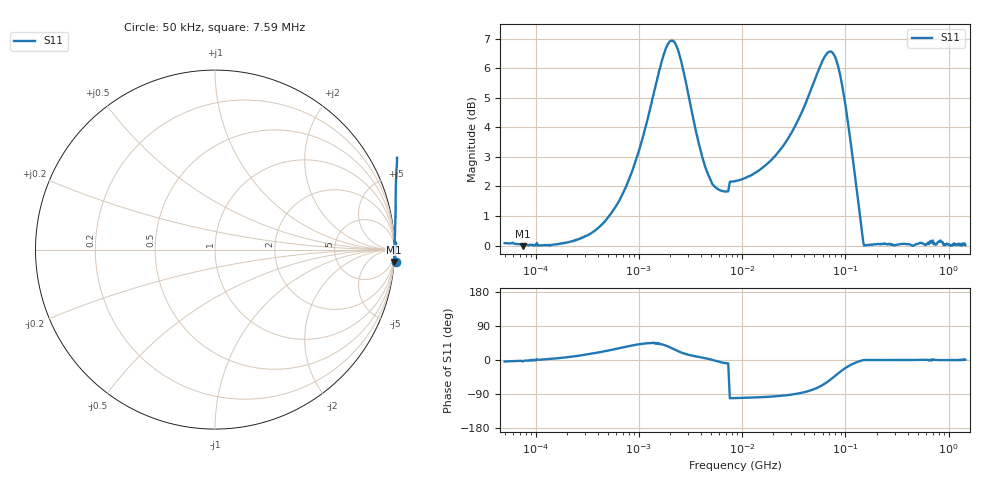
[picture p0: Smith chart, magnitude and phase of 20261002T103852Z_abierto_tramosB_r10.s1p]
! piloto_saltos / abierto_tramosB / r10
# HZ S RI R 50
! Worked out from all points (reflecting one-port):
!   501 points, 50 kHz to 1.45 GHz, reference 50 ohm
!   lowest |S11| = 0.0 dB at 75 kHz (marker M1), VSWR 825.90, Z = 50.3 - j1.44e+03 ohm
!   phase of S11 starts at -4 deg and turns +5 deg over the sweep
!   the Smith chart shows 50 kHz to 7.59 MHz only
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50000  1.007 -0.0696
75000  0.9952 -0.0691
182500  1.003 0.1062
381000  1.007 0.3376
678000  1.022 0.6503
1137000  1.134 1.083
1623000  1.497 1.352
1947000  1.809 1.26
2379000  1.967 0.863
2838000  1.824 0.5122
3000000  1.752 0.4353
4620000  1.323 0.0794
6780000  1.222 -0.1729
8130000  -0.2379 -1.262
8670000  -0.235 -1.265
1.893e7  -0.1625 -1.384
3.27e7  0.00691 -1.595
4.62e7  0.3178 -1.803
5.7e7  0.7063 -1.884
6.51e7  1.053 -1.822
7.32e7  1.378 -1.621
8.67e7  1.652 -1.092
9.75e7  1.632 -0.6963
1.137e8  1.438 -0.3109
1.326e8  1.187 -0.0896
1.542e8  1 -0.000459
4.035e8  1.005 0.00296
1.45e9  1.002 0.0134
